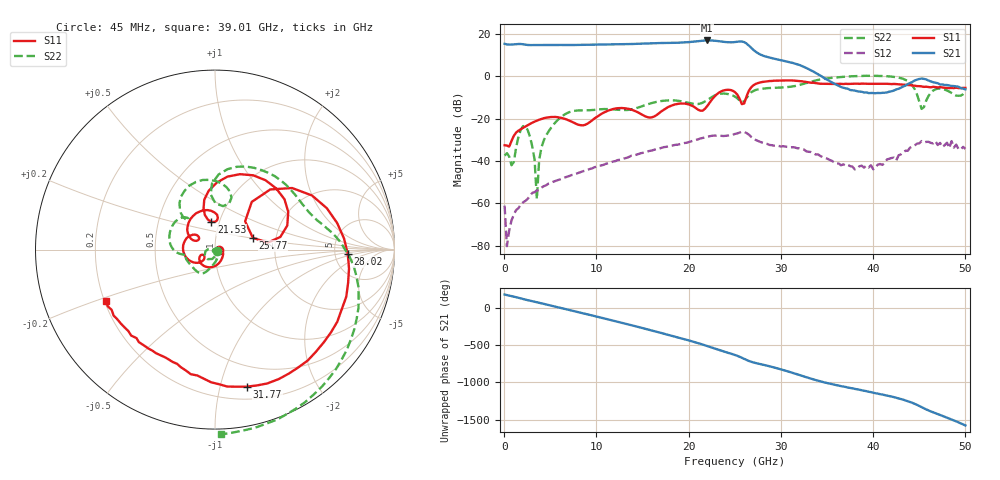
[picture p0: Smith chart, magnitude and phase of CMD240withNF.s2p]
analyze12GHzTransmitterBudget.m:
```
%% Analyze a 12 GHz Transmitter RF Budget
% Builds a representative single-conversion transmitter using the measured
% driver and Wilkinson splitter data supplied with this project. The budget
% represents one RF path through the transmitter.

clear;
clc;
close all;

projectRoot = fileparts(mfilename("fullpath"));
helpersDir = fullfile(projectRoot, "helpers");
resultsDir = fullfile(projectRoot, "tx12GHz_budget_results");

if ~isfolder(resultsDir)
    mkdir(resultsDir);
end

%% Operating point
fIF = 4e9;
fLO = 8e9;
fRF = fIF + fLO;
signalBandwidth = 100e6;
inputPower = -20; % dBm, average small-signal input power

%% Transmitter chain
% 4 GHz IF filter
ifFilter = rffilter( ...
    Name="IFfilter", ...
    FilterType="InverseChebyshev", ...
    ResponseType="Bandpass", ...
    FilterOrder=5, ...
    PassbandFrequency=fIF + [-signalBandwidth/2 signalBandwidth/2], ...
    PassbandAttenuation=3);

% Measured driver-amplifier S-parameters and noise figure
driver = amplifier( ...
    Name="DriverAmp", ...
    Model="sparam", ...
    FileName=fullfile(helpersDir, "CMD240withNF.s2p"), ...
    OIP3=28, ...
    OP1dB=19, ...
    OPsat=22);

% 4-to-12 GHz upconverter
upconverter = modulator( ...
    Name="Upconverter", ...
    LO=fLO, ...
    ConverterType="Up", ...
    Gain=6, ...
    NF=3, ...
    OIP3=32);

% One output path through the measured corporate splitter
splitterData = load( ...
    fullfile(helpersDir, "WilkinsonSplitterData.mat"), ...
    "splitterSparam");
splitter = nport(splitterData.splitterSparam, "WilkinsonSplitter");
splitter.Input = 1;
splitter.Output = 2;
splitter.Termination = 50;

% Final power amplifier
pa = amplifier( ...
    Name="PowerAmp", ...
    Model="poly", ...
    Gain=25, ...
    NF=6, ...
    OIP3=45, ...
    OP1dB=33, ...
    OPsat=37.5);

% Reference dipole at the transmitter output
antennaElement = design(dipole, fRF);
antennaSParameters = sparameters(antennaElement, fRF);
antennaGain = pattern(antennaElement, fRF, 0, 0);
txAntenna = rfantenna( ...
    Name="DipoleAntenna", ...
    Type="Transmitter", ...
    Gain=antennaGain, ...
    Z=s2z(antennaSParameters.Parameters));

elements = [ifFilter driver upconverter splitter pa txAntenna];
budget = rfbudget( ...
    Elements=elements, ...
    InputFrequency=fIF, ...
    AvailableInputPower=inputPower, ...
    SignalBandwidth=signalBandwidth);

%% Stage contributions
stageNames = [ ...
    "IF filter"
    "Driver amplifier"
    "Upconverter"
    "Wilkinson splitter"
    "Power amplifier"
    "Dipole antenna"];

cumulativeGain = budget.TransducerGain(:);
stageGain = [cumulativeGain(1); diff(cumulativeGain)];

% Friis excess-noise terms, all referred to the chain input:
% Ftotal - 1 = sum((Fi - 1)/Gpreceding).
cumulativeNoiseFactor = 10.^(budget.NF(:)/10);
noiseContribution = [ ...
    cumulativeNoiseFactor(1) - 1
    diff(cumulativeNoiseFactor)];
noiseContribution(abs(noiseContribution) < 1e-12) = 0;
noiseContribution = max(noiseContribution, 0);
noiseContributionPct = 100 * noiseContribution / ...
    (cumulativeNoiseFactor(end) - 1);

precedingGainLinear = [1; 10.^(cumulativeGain(1:end-1)/10)];
stageNoiseFactor = 1 + noiseContribution .* precedingGainLinear;
stageNoiseFigure = 10*log10(stageNoiseFactor);

% Cascaded third-order distortion adds as reciprocal input IP3:
% 1/IIP3total = sum(Gpreceding/IIP3i).
cumulativeIIP3 = budget.IIP3(:);
inverseIIP3 = 10.^(-cumulativeIIP3/10);
im3Contribution = [inverseIIP3(1); diff(inverseIIP3)];
im3Contribution(abs(im3Contribution) < 1e-12) = 0;
im3Contribution = max(im3Contribution, 0);
im3ContributionPct = 100 * im3Contribution / inverseIIP3(end);

% Compression headroom is reported where component P1dB data is available.
p1dBMargin = nan(size(stageNames));
p1dBMargin(2) = driver.OP1dB - budget.OutputPower(2);
p1dBMargin(5) = pa.OP1dB - budget.OutputPower(5);

stageTable = table( ...
    stageNames, ...
    budget.OutputFrequency(:)/1e9, ...
    stageGain, ...
    cumulativeGain, ...
    stageNoiseFigure, ...
    budget.NF(:), ...
    budget.IIP3(:), ...
    budget.OIP3(:), ...
    budget.OutputPower(:), ...
    noiseContributionPct, ...
    im3ContributionPct, ...
    p1dBMargin, ...
    VariableNames=[ ...
        "Stage"
        "OutputFrequency_GHz"
        "StageGain_dB"
        "CumulativeGain_dB"
        "StageNF_dB"
        "CumulativeNF_dB"
        "CumulativeIIP3_dBm"
        "CumulativeOIP3_dBm"
        "OutputPower_dBm"
        "NoiseContribution_pct"
        "IM3Contribution_pct"
        "P1dBMargin_dB"]);

%% Identify limiting stages
[largestLoss, gainLimiterIndex] = min(stageGain);
[~, noiseLimiterIndex] = max(noiseContributionPct);
[~, linearityLimiterIndex] = max(im3ContributionPct);
[largestGain, gainProviderIndex] = max(stageGain);

paStage = 5;
systemGainToPA = budget.TransducerGain(paStage);
systemNF = budget.NF(paStage);
systemIIP3 = budget.IIP3(paStage);
systemOIP3 = budget.OIP3(paStage);
paOutputPower = budget.OutputPower(paStage);

fprintf("12 GHz transmitter chain (one RF path)\n");
fprintf("IF + LO -> RF: %.1f + %.1f -> %.1f GHz\n", ...
    fIF/1e9, fLO/1e9, fRF/1e9);
fprintf("Bandwidth: %.0f MHz; input power: %.1f dBm\n\n", ...
    signalBandwidth/1e6, inputPower);
disp(stageTable);

fprintf("\nBudget through the PA output\n");
fprintf("Gain: %.2f dB\n", systemGainToPA);
fprintf("Noise figure: %.2f dB\n", systemNF);
fprintf("IIP3 / OIP3: %.2f / %.2f dBm\n", systemIIP3, systemOIP3);
fprintf("Output power: %.2f dBm\n", paOutputPower);
fprintf("PA P1dB headroom: %.2f dB\n", p1dBMargin(paStage));

fprintf("\nLimiting stages\n");
fprintf("Gain loss: %s (%.2f dB stage gain)\n", ...
    stageNames(gainLimiterIndex), largestLoss);
fprintf("Largest gain provider: %s (+%.2f dB)\n", ...
    stageNames(gainProviderIndex), largestGain);
fprintf("Noise figure: %s (%.1f%% of excess-noise factor)\n", ...
    stageNames(noiseLimiterIndex), noiseContributionPct(noiseLimiterIndex));
fprintf("Linearity: %s (%.1f%% of reciprocal-IIP3 degradation)\n", ...
    stageNames(linearityLimiterIndex), im3ContributionPct(linearityLimiterIndex));

%% Save tabular and visual results
writetable(stageTable, fullfile(resultsDir, "tx12GHz_stage_budget.csv"));

fig = figure(Name="12 GHz Transmitter Budget", Color="w");
tiledlayout(fig, 2, 2, TileSpacing="compact");
stageIndex = 1:numel(stageNames);

nexttile;
bar(stageIndex, stageGain);
yline(0, "k-");
title("Incremental Stage Gain");
ylabel("Gain (dB)");
grid on;

nexttile;
bar(stageIndex, budget.OutputPower(:));
title("Cumulative Output Power");
ylabel("Power (dBm)");
grid on;

nexttile;
bar(stageIndex, noiseContributionPct);
title("Excess-Noise Contribution");
ylabel("Contribution (%)");
grid on;

nexttile;
bar(stageIndex, im3ContributionPct);
title("Reciprocal-IIP3 Contribution");
ylabel("Contribution (%)");
grid on;

for tileIndex = 1:4
    ax = nexttile(tileIndex);
    ax.XTick = stageIndex;
    ax.XTickLabel = stageNames;
    ax.XTickLabelRotation = 35;
end

exportgraphics( ...
    fig, ...
    fullfile(resultsDir, "tx12GHz_budget_and_limiters.png"), ...
    Resolution=180);

fprintf("\nSaved results to:\n%s\n", resultsDir);

% Uncomment to inspect or modify the chain interactively.
% rfBudgetAnalyzer(budget);
```
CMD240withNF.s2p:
# GHz S RI R 50
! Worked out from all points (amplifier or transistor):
!   201 points, 45 MHz to 50 GHz, reference 50 ohm
!   highest |S21| = 17.0 dB at 22.03 GHz (marker M1)
!   |S21| within 3 dB of that: start of sweep to 26.66 GHz
!   unconditionally stable (mu >= 1): start of sweep to 37.12 GHz; 41.81 GHz to end of sweep
!   at 8.288 GHz: K = 16.05, MAG = 15.0 dB, |S12| = -45.2 dB
!   at 25.02 GHz: K = 1.48, MAG = 17.6 dB, |S12| = -27.2 dB
!   at 50 GHz: K = 30.69, MAG = -3.8 dB, |S12| = -34.3 dB
!   lowest NFmin = 1.80 dB at 8 GHz
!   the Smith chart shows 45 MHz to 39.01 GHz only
!   S11 on the Smith chart (normalised r, x): 45 MHz: 1.05, -0.00; 21.53 GHz: 0.92, +0.29; 25.77 GHz: 1.52, +0.21; 28.02 GHz: 6.62, -0.68; 31.77 GHz: 0.31, -1.21; 39.01 GHz: 0.21, -0.21
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0.045  0.0236 -0.00218  -5.864 0.2441  -0.000436 -0.000772  0.00881 -0.0101
12.53375  -0.1784 0.00687  -5.533 1.44  -0.0103 0.00324  -0.1573 -0.0356
17.77903  -0.1547 0.109  6.16 -0.3081  0.0217 0.00468  -0.2456 0.1137
21.52565  -0.0197 0.1541  -4.766 -5.073  -0.0116 -0.0332  -0.1668 0.1716
22.0252  -0.0565 0.193  -6.303 -3.165  -0.0234 -0.0298  -0.1899 0.2032
25.27227  0.3641 0.0705  1.583 6.379  -0.0118 0.0434  0.0917 0.2888
25.77182  0.2106 0.0661  4.288 5.103  0.00907 0.0486  0.0449 0.242
28.0198  0.7397 -0.0233  2.313 -2.086  0.0268 -0.00388  0.2582 0.443
31.76642  0.1783 -0.7636  -1.903 -0.2775  -0.00638 -0.0191  0.5908 0.146
39.0099  -0.6076 -0.2853  0.3541 -0.2205  0.00578 0.00396  0.0335 -1.03
50  0.0684 0.5299  -0.3644 -0.3338  0.0181 -0.00673  -0.2507 -0.3443
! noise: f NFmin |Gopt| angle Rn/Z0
2  4  0  0  37.5
4  2.9  0  0  23.75
6  2.2  0  0  15
8  1.8  0  0  10
10  2.2  0  0  15
12  2  0  0  12.5
14  2.1  0  0  13.75
16  2.3  0  0  16.25
18  2.4  0  0  17.5
22  3.7  0  0  33.75
